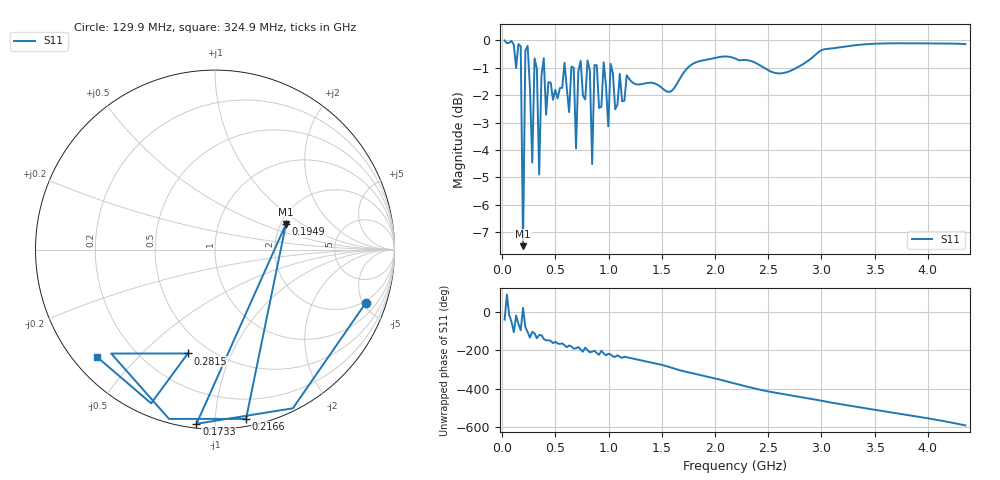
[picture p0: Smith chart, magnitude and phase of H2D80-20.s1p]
!Keysight Technologies N9923A: A.08.19
!Date: Thursday, 16 January 2020 11:30:00
!TimeZone: (GMT-03:00) Brasilia!Model: N9923A
!Serial: MY51491501
!GPS Latitude:
!GPS Longitude:
!GPS TimeStamp: 0001-01-01 00:00:00Z
!GPS Seconds Since Last Read: 0
!CHECKSUM:1078980270
!Correction: S11(ON U)
!S1P File: Measurement: S11:
# Hz S DB R 50
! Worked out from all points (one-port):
!   201 points, 21.66 MHz to 4.353 GHz, reference 50 ohm
!   lowest |S11| = -7.5 dB at 194.9 MHz (marker M1), VSWR 2.45, Z = 107 + j37.2 ohm
!   |S11| at or under -10 dB: nowhere
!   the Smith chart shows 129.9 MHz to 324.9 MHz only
!   S11 on the Smith chart (normalised r, x): 129.9 MHz: 1.81, -5.20; 173.3 MHz: 0.02, -0.90; 194.9 MHz: 2.13, +0.74; 216.6 MHz: 0.05, -1.20; 281.5 MHz: 0.39, -0.70; 324.9 MHz: 0.07, -0.39
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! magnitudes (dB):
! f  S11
! 21.66 MHz  0.0
! 129.9 MHz  -1.0
! 173.3 MHz  -0.2
! 194.9 MHz  -7.5
! 216.6 MHz  -0.4
! 281.5 MHz  -4.5
! 303.2 MHz  -0.7
! 324.9 MHz  -1.0
! 346.5 MHz  -4.9
! 389.8 MHz  -0.6
! 411.5 MHz  -2.7
! 563.1 MHz  -1.7
! 671.4 MHz  -1.0
! 693 MHz  -3.9
! 714.7 MHz  -1.1
! 801.3 MHz  -0.7
! 844.6 MHz  -4.5
! 866.3 MHz  -0.9
! 952.9 MHz  -0.8
! 996.2 MHz  -3.1
! 1.018 GHz  -0.8
! 1.104 GHz  -1.2
! 1.646 GHz  -1.6
! 2.187 GHz  -0.7
! 2.729 GHz  -1.1
! 3.27 GHz  -0.2
! 3.812 GHz  -0.1
! 4.353 GHz  -0.1
